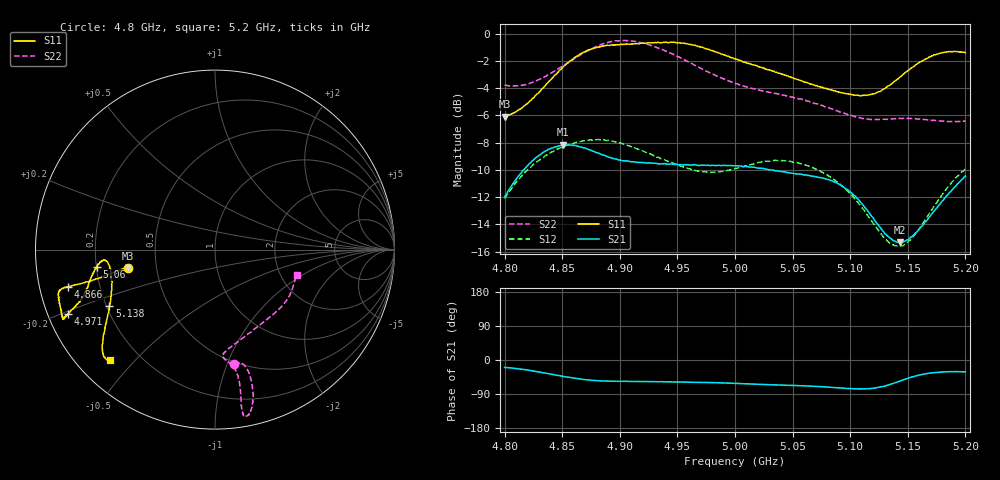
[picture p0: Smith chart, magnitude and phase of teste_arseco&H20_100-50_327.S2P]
! Network Analyzer HP8722D
! Hewlett-Packard
! Data name: Linha & Wilkinson
! Saver's name: Rodrigo Anjos
! Comments: Teste da utilização de aquisição
! continua pelo VNA HP8722D
! Time and date: 6/5/2025 15:17
!  Frequency  S11  S21  S12  S22
# HZ  S  MA R 50
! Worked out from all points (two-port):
!   401 points, 4.8 GHz to 5.2 GHz, reference 50 ohm
!   highest |S21| = -8.15 dB at 4.851 GHz (marker M1); lowest = -15.3 dB at 5.143 GHz (marker M2)
!   |S21| within 3 dB of the highest: 4.806 GHz to 5.092 GHz (286.2 MHz wide, 5.78 % of centre); 5.191964 GHz to end of sweep
!   lowest |S11| = -6.1 dB at 4.8 GHz (marker M3), VSWR 2.97, Z = 17 - j4.61 ohm
!   |S11| at or under -10 dB: nowhere
!   |S22| runs from -6.5 to -0.5 dB; largest |S21 - S12| = 0.62
!   S11 on the Smith chart (normalised r, x): 4.8 GHz: 0.34, -0.09; 4.866 GHz: 0.09, -0.12; 4.971 GHz: 0.06, -0.21; 5.06 GHz: 0.20, -0.07; 5.138 GHz: 0.21, -0.24; 5.2 GHz: 0.09, -0.43
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4.8e9  0.4967 -168.1  0.2518 -19.6  0.2485 -140.8  0.648 -80.4
4.823e9  0.5697 -167.5  0.3376 -28.1  0.3244 -143.7  0.6605 -75.9
4.851e9  0.7558 -165.8  0.3911 -43.3  0.385 -149.1  0.7652 -74.5
4.866e9  0.8452 -165.7  0.3837 -50.2  0.4021 -151.7  0.8365 -75.3
4.867e9  0.8471 -165.8  0.3839 -50.8  0.4032 -152.0  0.844 -75.4
4.883e9  0.896 -165.0  0.3617 -55.0  0.4083 -154.7  0.9094 -77.1
4.901e9  0.9156 -162.3  0.3433 -56.3  0.3962 -156.7  0.9442 -79.2
4.934e9  0.929 -156.2  0.3326 -57.5  0.3516 -155.6  0.8835 -80.5
4.971e9  0.894 -156.4  0.329 -59.2  0.312 -146.5  0.7452 -79.6
5e9  0.8109 -158.9  0.3273 -61.8  0.3197 -137.2  0.6571 -81.3
5.035e9  0.7227 -165.2  0.3138 -65.7  0.3428 -134.2  0.6031 -85.5
5.06e9  0.6658 -171.6  0.3028 -68.1  0.3302 -136.1  0.5711 -84.2
5.067e9  0.6517 -172.9  0.3001 -69.2  0.3232 -136.7  0.5589 -82.7
5.083e9  0.6228 -174.4  0.2893 -72.2  0.2973 -138.1  0.5314 -76.8
5.1e9  0.5996 -172.3  0.2623 -75.6  0.2586 -138.7  0.5022 -67.2
5.116e9  0.597 -165.5  0.2215 -75.9  0.2126 -135.6  0.4851 -55.8
5.134e9  0.6458 -154.2  0.1786 -65.3  0.1705 -120.7  0.4865 -43.3
5.138e9  0.6672 -152.0  0.1737 -61.2  0.1673 -115.5  0.4873 -40.9
5.143e9  0.6919 -149.2  0.1713 -55.9  0.1662 -109.0  0.489 -38.0
5.154e9  0.7538 -144.4  0.1805 -44.5  0.1787 -94.9  0.4878 -32.3
5.174e9  0.8374 -138.5  0.2265 -32.8  0.2361 -80.3  0.4799 -23.9
5.2e9  0.8517 -133.5  0.3002 -31.4  0.3191 -76.8  0.4767 -17.5
